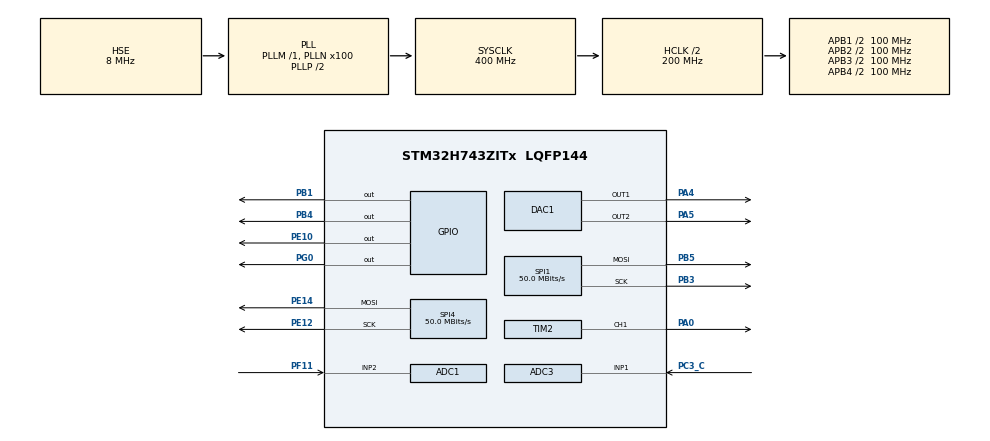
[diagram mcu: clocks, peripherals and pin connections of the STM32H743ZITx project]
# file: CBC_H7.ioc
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ADC1.BoostMode=DISABLE
ADC1.Channel-0\#ChannelRegularConversion=ADC_CHANNEL_2
ADC1.ClockPrescaler=ADC_CLOCK_ASYNC_DIV2
ADC1.ContinuousConvMode=ENABLE
ADC1.ConversionDataManagement=ADC_CONVERSIONDATA_DR
ADC1.DiscontinuousConvMode=DISABLE
ADC1.EOCSelection=ADC_EOC_SINGLE_CONV
ADC1.EnableAnalogWatchDog1=false
ADC1.EnableAnalogWatchDog2=false
ADC1.EnableAnalogWatchDog3=false
ADC1.EnableInjectedConversion=DISABLE
ADC1.EnableRegularConversion=ENABLE
ADC1.ExternalTrigConv=ADC_SOFTWARE_START
ADC1.ExternalTrigConvEdge=ADC_EXTERNALTRIGCONVEDGE_NONE
ADC1.LeftBitShift=ADC_LEFTBITSHIFT_NONE
ADC1.LowPowerAutoWait=DISABLE
ADC1.NbrOfConversion=1
ADC1.NbrOfConversionFlag=1
ADC1.OffsetNumber-0\#ChannelRegularConversion=ADC_OFFSET_NONE
ADC1.Overrun=ADC_OVR_DATA_PRESERVED
ADC1.OversamplingMode=DISABLE
ADC1.Rank-0\#ChannelRegularConversion=1
ADC1.Resolution=ADC_RESOLUTION_16B
ADC1.SamplingTime-0\#ChannelRegularConversion=ADC_SAMPLETIME_1CYCLE_5
ADC1.ScanConvMode=ADC_SCAN_DISABLE
ADC1.master=1
ADC3.Channel-3\#ChannelRegularConversion=ADC_CHANNEL_1
ADC3.NbrOfConversionFlag=1
ADC3.OffsetNumber-3\#ChannelRegularConversion=ADC_OFFSET_NONE
ADC3.Rank-3\#ChannelRegularConversion=1
ADC3.SamplingTime-3\#ChannelRegularConversion=ADC_SAMPLETIME_1CYCLE_5
CORTEX_M7.CPU_DCache=Disabled
DAC1.DAC_Channel-DAC_OUT1=DAC_CHANNEL_1
DAC1.DAC_Channel-DAC_OUT2=DAC_CHANNEL_2
DAC1.DAC_Trigger-DAC_OUT1=DAC_TRIGGER_T2_TRGO
DAC1.DAC_Trigger-DAC_OUT2=DAC_TRIGGER_T2_TRGO
Mcu.Family=STM32H7
Mcu.Name=STM32H743ZITx
Mcu.Package=LQFP144
NVIC.PriorityGroup=NVIC_PRIORITYGROUP_4
NVIC.TIM2_IRQn=true\:0\:0\:true\:false\:true\:true\:true
PA0.Signal=S_TIM2_CH1
PA13\ (JTMS/SWDIO).Mode=Serial_Wire
PA13\ (JTMS/SWDIO).Signal=DEBUG_JTMS-SWDIO
PA14\ (JTCK/SWCLK).Mode=Serial_Wire
PA14\ (JTCK/SWCLK).Signal=DEBUG_JTCK-SWCLK
PA4.Signal=COMP_DAC11_group
PA5.Signal=COMP_DAC12_group
PB1.GPIO_ModeDefaultOutputPP=GPIO_MODE_OUTPUT_PP
PB1.GPIO_PuPd=GPIO_PULLDOWN
PB1.GPIO_Speed=GPIO_SPEED_FREQ_VERY_HIGH
PB1.Signal=GPIO_Output
PB3\ (JTDO/TRACESWO).GPIO_Speed=GPIO_SPEED_FREQ_VERY_HIGH
PB3\ (JTDO/TRACESWO).Mode=TX_Only_Simplex_Unidirect_Master
PB3\ (JTDO/TRACESWO).Signal=SPI1_SCK
PB4\ (NJTRST).GPIO_Speed=GPIO_SPEED_FREQ_HIGH
PB4\ (NJTRST).PinState=GPIO_PIN_SET
PB4\ (NJTRST).Signal=GPIO_Output
PB5.GPIO_Speed=GPIO_SPEED_FREQ_VERY_HIGH
PB5.Mode=TX_Only_Simplex_Unidirect_Master
PB5.Signal=SPI1_MOSI
PC3_C.Mode=IN1-Single-Ended
PC3_C.Signal=ADC3_INP1
PE10.PinState=GPIO_PIN_SET
PE10.Signal=GPIO_Output
PE12.GPIO_Speed=GPIO_SPEED_FREQ_VERY_HIGH
PE12.Mode=TX_Only_Simplex_Unidirect_Master
PE12.Signal=SPI4_SCK
PE14.GPIO_Speed=GPIO_SPEED_FREQ_VERY_HIGH
PE14.Mode=TX_Only_Simplex_Unidirect_Master
PE14.Signal=SPI4_MOSI
PF11.Mode=IN2-Single-Ended
PF11.Signal=ADC1_INP2
PG0.Signal=GPIO_Output
PH0-OSC_IN\ (PH0).Mode=HSE-External-Oscillator
PH0-OSC_IN\ (PH0).Signal=RCC_OSC_IN
PH1-OSC_OUT\ (PH1).Mode=HSE-External-Oscillator
PH1-OSC_OUT\ (PH1).Signal=RCC_OSC_OUT
ProjectManager.HeapSize=0x3000
ProjectManager.StackSize=0x400
ProjectManager.TargetToolchain=STM32CubeIDE
RCC.ADCCLockSelection=RCC_ADCCLKSOURCE_PLL3
RCC.ADCFreq_Value=66666666.666666664
RCC.APB1Freq_Value=100000000
RCC.APB2Freq_Value=100000000
RCC.APB3Freq_Value=100000000
RCC.APB4Freq_Value=100000000
RCC.CortexFreq_Value=400000000
RCC.D1PPRE=RCC_APB3_DIV2
RCC.D2PPRE1=RCC_APB1_DIV2
RCC.D2PPRE2=RCC_APB2_DIV2
RCC.D3PPRE=RCC_APB4_DIV2
RCC.DIVM1=1
RCC.DIVM2=1
RCC.DIVM3=1
RCC.DIVN1=100
RCC.DIVN2=19
RCC.DIVN3=25
RCC.DIVP3=1
RCC.DIVR3=3
RCC.HCLKFreq_Value=200000000
RCC.HPRE=RCC_HCLK_DIV2
RCC.HSE_VALUE=8000000
RCC.PLL3FRACN=0
RCC.PLLFRACN=0
RCC.PLLSourceVirtual=RCC_PLLSOURCE_HSE
RCC.PWR_Regulator_Voltage_Scale=PWR_REGULATOR_VOLTAGE_SCALE1
RCC.RCC_TIM_PRescaler_Selection=RCC_TIMPRES_ACTIVATED
RCC.SPI123CLockSelection=RCC_SPI123CLKSOURCE_PLL3
RCC.SYSCLKFreq_VALUE=400000000
RCC.SYSCLKSource=RCC_SYSCLKSOURCE_PLLCLK
RCC.Spi45ClockSelection=RCC_SPI45CLKSOURCE_PLL3
RCC.USART234578CLockSelection=RCC_USART234578CLKSOURCE_PLL3
RCC.USBFreq_Value=400000000
SH.COMP_DAC11_group.0=DAC1_OUT1,DAC_OUT1
SH.COMP_DAC12_group.0=DAC1_OUT2,DAC_OUT2
SH.S_TIM2_CH1.0=TIM2_CH1,PWM Generation1 CH1
SPI1.BaudRatePrescaler=SPI_BAUDRATEPRESCALER_4
SPI1.CalculateBaudRate=50.0 MBits/s
SPI1.DataSize=SPI_DATASIZE_16BIT
SPI1.Direction=SPI_DIRECTION_2LINES_TXONLY
SPI1.MasterInterDataIdleness=SPI_MASTER_INTERDATA_IDLENESS_00CYCLE
SPI1.Mode=SPI_MODE_MASTER
SPI1.NSSPMode=SPI_NSS_PULSE_DISABLE
SPI1.VirtualType=VM_MASTER
SPI4.BaudRatePrescaler=SPI_BAUDRATEPRESCALER_2
SPI4.CLKPolarity=SPI_POLARITY_HIGH
SPI4.CalculateBaudRate=50.0 MBits/s
SPI4.Direction=SPI_DIRECTION_2LINES_TXONLY
SPI4.Mode=SPI_MODE_MASTER
SPI4.VirtualType=VM_MASTER
TIM2.Channel-PWM\ Generation1\ CH1=TIM_CHANNEL_1
TIM2.Pulse-PWM\ Generation1\ CH1=2
TIM2.TIM_MasterOutputTrigger=TIM_TRGO_UPDATE
VP_TIM2_VS_ClockSourceINT.Mode=Internal
board=custom

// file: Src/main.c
/* USER CODE BEGIN Header */
/**
  ******************************************************************************
  * @file           : main.c
  * @brief          : Main program body
  ******************************************************************************
  * @attention
  *
  * <h2><center>&copy; Copyright (c) 2021 STMicroelectronics.
  * All rights reserved.</center></h2>
  *
  * This software component is licensed by ST under BSD 3-Clause license,
  * the "License"; You may not use this file except in compliance with the
  * License. You may obtain a copy of the License at:
  *                        opensource.org/licenses/BSD-3-Clause
  *
  ******************************************************************************
  */
/* USER CODE END Header */
#include "main.h"
#include "adc.h"
#include "dac.h"
#include "spi.h"
#include "tim.h"
#include "gpio.h"

/* USER CODE BEGIN PV */
#define DAC_ALIGNMENT DAC_ALIGN_12B_R
#define hdac hdac1
#define TIM2PSC 0
uint32_t adc_value=0;
uint32_t dacvalue=0;
double volt_value=0;
uint32_t Tim2ARR;
uint32_t ADCBuf[2];
uint16_t  pData; //{0x7530};  //3952
uint32_t   acValBuffer;
uint16_t DACoutput1;
uint16_t DACoutput2;
uint16_t li;
double paramFreq;
uint32_t   PT_Anf=0;
uint32_t   PT_End =0;
uint32_t   ADC_Anf=0;
uint32_t   ADC_End =0;
uint32_t   DAC_Anf=0;
uint32_t   DAC_End =0;
uint32_t   PID_Anf=0;
uint32_t   PID_End =0;
uint32_t   SPI_Anf=0;
uint32_t   SPI_End =0;
double duration_sum;
double   duration =0;
double  SPI_duration = 0;
double  ADC_duration = 0;
double  PID_duration = 0;
tPID* 		 pPID1       =   &InstancePID1;
tPID* 		 pPID2       =   &InstancePID2;
uint8_t PIDInputOption = 1;
double LockInOutput = 0.0;
double yout;
uint16_t charI[16];
uint16_t hexString;
uint16_t pdata;
uint16_t li;
uint16_t spi_data = 0x0;
__IO uint16_t *ptxdr_16bits = (uint16_t*)&SPI1->TXDR; // for 16-bit-write

/* USER CODE END PV */

void SystemClock_Config(void);
void PeriphCommonClock_Config(void);
/* USER CODE BEGIN PFP */
float PIDInputSWitch(uint8_t PIDInputOption, float ADCvalue,float LockIn)
{
	 float PIDInput;
	 if (PIDInputOption == 0)
			 {
	 	 	 	 PIDInput=LockIn;
			 }
	else
			{
				PIDInput =ADCvalue;
			}
	 return(PIDInput);
}
void PID_vInit(tPID* pPID)
{                                          ///< Zeiger auf Reglerstruktur
	pPID->_Ts 				= 		1/CTRLFREQUENCY;
	pPID-> _Kp				= 		1;
	pPID-> _Ki				= 		0;
	pPID-> _Kd				= 		0.0;
	pPID-> _max				= 		3;
	pPID-> _min				= 		-3;
	pPID-> _Kaw				= 		0.0;
	pPID-> _EnKc			= 		1;
	pPID-> _fc				= 		10;
    pPID-> _PIDHold			= 		0.0;
	pPID->error             =        0;
	pPID->error_1lag        =        0;
	pPID->error_2lag        =        0;
	pPID->error_AnWi        =        0;
	pPID->preout            =        0;
	pPID->_kt               =        -1;
	pPID->En                =        1.0;
	pPID->ref               =       0.0;
	pPID->a0                =        0.0;
	pPID->a1 				= 		0.0;
	pPID->a2      			= 		0.0;
	pPID->aw				=		0.0;
	pPID->omega 			=		0;
	pPID->a0 				= 		pPID-> _Kp+pPID-> _Kd/V2MUV/pPID->_Ts+pPID->_Ki*V2MV*pPID->_Ts;
	pPID->a1 				= 		-(pPID-> _Kp+pPID-> _Kd/V2MUV/pPID->_Ts*2.0);
	pPID->a2 				=		pPID->_Kd/V2MUV/pPID->_Ts;
	pPID->aw   				=		pPID->_Kaw*pPID->_Ts;
};
void PID_Calc(tPID* pPID,uint8_t PIDInputOption, double ADCvalue,double LockIn)
{
	double 			output;
	double 			outputsat;
	double          pd;
	pd          				= 	PIDInputSWitch(PIDInputOption, ADCvalue, LockIn);
	pPID->error = (pPID->ref - pd)*pPID->_kt;
	if (pPID->En>=1)
	{
		output = (pPID->preout+pPID->a0*pPID->error + pPID->a1*pPID->error_1lag + pPID->a2*pPID->error_2lag+pPID->aw*pPID->error_AnWi)/(1+pPID->omega*pPID->_Ts);
	}
	else
	{
		output = 0;
		pPID->error             =        0;
		pPID->error_1lag        =        0;
		pPID->error_2lag        =        0;
		pPID->preout            =        0;
	}
//	if( output > pPID->_max*3)
//		{
//		   output = 3*pPID->_max;
//		}
//	if( output < pPID->_min*3 )
//			{
//			   output = 3*pPID->_min;
//			}
	pPID->preout = output;
	    // Restrict to max/min
	if( output > pPID->_max )
	{
	   outputsat = pPID->_max;
	}
	else if( output < pPID->_min )
	{
	   outputsat = pPID->_min;
	}
	else
	{
	   outputsat = output;
	}
	pPID->error_AnWi              =   outputsat-output;
	    // Save error to previous error
	pPID->error_2lag = pPID->error_1lag;
	pPID->error_1lag = pPID->error;
//   tty3 =Kd/pPID->_Ts;
	pPID->outvalue= outputsat;
}
void SPI1_start()
{
	  HAL_GPIO_WritePin(GPIOB, GPIO_PIN_4, GPIO_PIN_SET);
	  SPI1->CR1 |= SPI_CR1_SPE_Msk;    // enable SPI
	  SPI1->CR1 |= SPI_CR1_CSTART_Msk; // master transfer start

}
void SPI1_transmit(uint16_t data)
{
    GPIOB->BSRR = GPIO_PIN_4 << 16; // Reset
    *ptxdr_16bits = data;
    while( !(SPI1->SR & SPI_SR_TXC_Msk));  // check if FiFo transmission complete
    GPIOB->BSRR = GPIO_PIN_4; // Set

}
uint32_t ADC_read(ADC_HandleTypeDef *hadc)
{
    /* Enable the ADC peripheral */
	uint32_t adc_value;
/*    ADC_STATE_CLR_SET(hadc->State,
                        HAL_ADC_STATE_READY | HAL_ADC_STATE_REG_EOC | HAL_ADC_STATE_REG_OVR | HAL_ADC_STATE_REG_EOSMP,HAL_ADC_STATE_REG_BUSY);
   //__HAL_ADC_CLEAR_FLAG(hadc, (ADC_FLAG_EOC | ADC_FLAG_EOS | ADC_FLAG_OVR));
    ADC1->ISR |=ADC_ISR_EOC_Msk;
    ADC1->CR |=ADC_CR_ADSTART_Msk;*/
   // MODIFY_REG(ADC1->CR,ADC_CR_BITS_PROPERTY_RS,ADC_CR_ADSTART);
	 ADC1->ISR |=ADC_ISR_EOC_Msk;
	 ADC1->CR |=ADC_CR_ADSTART_Msk;
	 while ((ADC1->ISR  & ADC_ISR_EOC_Msk) == 0UL);
	 adc_value =ADC1->DR;
   // ADC_STATE_CLR_SET(hadc->State,HAL_ADC_STATE_REG_BUSY | HAL_ADC_STATE_INJ_BUSY,HAL_ADC_STATE_READY);
    return adc_value;
}
HAL_StatusTypeDef HAL_ADC_Stop1(ADC_HandleTypeDef *hadc)
{
  /* 1. Stop potential conversion on going, on ADC groups regular and injected */
  ADC_ConversionStop(hadc, ADC_REGULAR_INJECTED_GROUP);
  ADC_Disable(hadc);
  ADC_STATE_CLR_SET(hadc->State,HAL_ADC_STATE_REG_BUSY | HAL_ADC_STATE_INJ_BUSY,HAL_ADC_STATE_READY);
    }
HAL_StatusTypeDef HAL_ADC_PollForConversion1(ADC_HandleTypeDef *hadc, uint32_t Timeout)
{

// ADC1->ISR |=	HAL_ADC_STATE_REG_EOC;
//  SET_BIT(hadc->State, HAL_ADC_STATE_REG_EOC);
 // __HAL_ADC_CLEAR_FLAG(hadc, (ADC_FLAG_EOC));
	 while ((ADC1->ISR  & ADC_ISR_EOC_Msk) == 0UL);
}

void HAL_TIM_IRQHandler1(TIM_HandleTypeDef *htim)
{

  /* TIM Update event */
  if(__HAL_TIM_GET_FLAG(htim, TIM_FLAG_UPDATE) != RESET)
  {
    if(__HAL_TIM_GET_IT_SOURCE(htim, TIM_IT_UPDATE) !=RESET)
    {
      __HAL_TIM_CLEAR_IT(htim, TIM_IT_UPDATE);
      HAL_TIM_PeriodElapsedCallback(htim);
    }
  }
}
/* USER CODE END PFP */

/* USER CODE BEGIN 0 */
void HAL_ADC_ConvCpltCallback(ADC_HandleTypeDef* hadc)
{

/*
	  adc_value =HAL_ADC_GetValue(&hadc1);
	  volt_value=3.3f*((float)(adc_value)/65536); // single ended mode
*/

//	  DACOut=(uint32_t)(2.0/(3.3/65536));

}
void HAL_TIM_PeriodElapsedCallback(TIM_HandleTypeDef *htim)
{
		HAL_GPIO_TogglePin(GPIOG,GPIO_PIN_0);

		//HAL_GPIO_WritePin(GPIOG,GPIO_PIN_0,GPIO_PIN_SET);
		SPI_Anf =DWT->CYCCNT;
		SPI1_transmit(DACoutput1);
		PT_Anf =PT_End;
		SPI_End =DWT->CYCCNT;
		adc_value=ADC_read(&hadc1);
		ADC_End =DWT->CYCCNT;
		volt_value = DIG2WOLT*(float)(adc_value);
		PID_Calc(pPID1,PIDInputOption, volt_value,LockInOutput);
		DACoutput1 = (uint16_t)(InstancePID1.outvalue*VOLT2DIG16BIT);
		PID_End=DWT->CYCCNT;
		PID_duration =(PID_End-ADC_End)*0.0025;
		ADC_duration = (ADC_End-SPI_End)*0.0025;
		SPI_duration = (SPI_End-SPI_Anf)*0.0025;
		duration_sum =PID_duration+ADC_duration+SPI_duration;
		PT_End = DWT->CYCCNT;
		duration = (PT_End-PT_Anf)*0.0025;
		//HAL_GPIO_WritePin(GPIOG,GPIO_PIN_0,GPIO_PIN_RESET);
      //  HAL_GPIO_WritePin(GPIOB,GPIO_PIN_1, GPIO_PIN_RESET);
}
/* USER CODE END 0 */

int main(void)
{

  /* MCU Configuration--------------------------------------------------------*/

  /* Reset of all peripherals, Initializes the Flash interface and the Systick. */
  HAL_Init();

  /* Configure the system clock */
  SystemClock_Config();

/* Configure the peripherals common clocks */
  PeriphCommonClock_Config();

  /* Initialize all configured peripherals */
  MX_GPIO_Init();
  MX_DAC1_Init();
  MX_ADC1_Init();
  MX_ADC3_Init();
  MX_TIM2_Init();
  MX_SPI1_Init();
  MX_SPI4_Init();
  /* USER CODE BEGIN 2 */
  CoreDebug->DEMCR |= CoreDebug_DEMCR_TRCENA_Msk;
  DWT->CTRL |= 1;
  Tim2ARR=200e6 / CTRLFREQUENCY-1;
  __HAL_TIM_SET_PRESCALER(&htim2, TIM2PSC);
  __HAL_TIM_SET_AUTORELOAD(&htim2,  Tim2ARR);
  paramFreq = CTRLFREQUENCY;
  PID_vInit(pPID1);
  /* USER CODE BEGIN 1 */
	 // HAL_TIM_PWM_Start(&htim4, TIM_CHANNEL_1);
  //HAL_TIM_PWM_Start(&htim2, TIM_CHANNEL_1);
	      /* Start DAC */
  //HAL_ADC_Start_DMA(&hadc1,ADCBuf,2);
 // HAL_ADC_Start(&hadc1);
  ADC_Enable(&hadc1);
  SPI1_start();
  HAL_TIM_Base_Start_IT(&htim2);
  //HAL_DAC_Start(&hdac, DAC_CHANNEL_2);
  //HAL_DAC_Start(&hdac, DAC_CHANNEL_1);
  //HAL_UART_Receive_DMA(&huart3,aRxBuffer,RXBUFFERSIZE);
 // HAL_SPI_Transmit_DMA(&hspi1, pData,2);
  /* USER CODE END 2 */

  /* Infinite loop */
  while (1)
  {

  }
}

void SystemClock_Config(void)
{
  RCC_OscInitTypeDef RCC_OscInitStruct = {0};
  RCC_ClkInitTypeDef RCC_ClkInitStruct = {0};

  /** Supply configuration update enable
  */
  HAL_PWREx_ConfigSupply(PWR_LDO_SUPPLY);
  /** Configure the main internal regulator output voltage
  */
  __HAL_PWR_VOLTAGESCALING_CONFIG(PWR_REGULATOR_VOLTAGE_SCALE1);

  while(!__HAL_PWR_GET_FLAG(PWR_FLAG_VOSRDY)) {}
  /** Macro to configure the PLL clock source
  */
  __HAL_RCC_PLL_PLLSOURCE_CONFIG(RCC_PLLSOURCE_HSE);
  /** Initializes the RCC Oscillators according to the specified parameters
  * in the RCC_OscInitTypeDef structure.
  */
  RCC_OscInitStruct.OscillatorType = RCC_OSCILLATORTYPE_HSE;
  RCC_OscInitStruct.HSEState = RCC_HSE_ON;
  RCC_OscInitStruct.PLL.PLLState = RCC_PLL_ON;
  RCC_OscInitStruct.PLL.PLLSource = RCC_PLLSOURCE_HSE;
  RCC_OscInitStruct.PLL.PLLM = 1;
  RCC_OscInitStruct.PLL.PLLN = 100;
  RCC_OscInitStruct.PLL.PLLP = 2;
  RCC_OscInitStruct.PLL.PLLQ = 2;
  RCC_OscInitStruct.PLL.PLLR = 2;
  RCC_OscInitStruct.PLL.PLLRGE = RCC_PLL1VCIRANGE_3;
  RCC_OscInitStruct.PLL.PLLVCOSEL = RCC_PLL1VCOWIDE;
  RCC_OscInitStruct.PLL.PLLFRACN = 0;
  if (HAL_RCC_OscConfig(&RCC_OscInitStruct) != HAL_OK)
  {
    Error_Handler();
  }
  /** Initializes the CPU, AHB and APB buses clocks
  */
  RCC_ClkInitStruct.ClockType = RCC_CLOCKTYPE_HCLK|RCC_CLOCKTYPE_SYSCLK
                              |RCC_CLOCKTYPE_PCLK1|RCC_CLOCKTYPE_PCLK2
                              |RCC_CLOCKTYPE_D3PCLK1|RCC_CLOCKTYPE_D1PCLK1;
  RCC_ClkInitStruct.SYSCLKSource = RCC_SYSCLKSOURCE_PLLCLK;
  RCC_ClkInitStruct.SYSCLKDivider = RCC_SYSCLK_DIV1;
  RCC_ClkInitStruct.AHBCLKDivider = RCC_HCLK_DIV2;
  RCC_ClkInitStruct.APB3CLKDivider = RCC_APB3_DIV2;
  RCC_ClkInitStruct.APB1CLKDivider = RCC_APB1_DIV2;
  RCC_ClkInitStruct.APB2CLKDivider = RCC_APB2_DIV2;
  RCC_ClkInitStruct.APB4CLKDivider = RCC_APB4_DIV2;

  if (HAL_RCC_ClockConfig(&RCC_ClkInitStruct, FLASH_LATENCY_2) != HAL_OK)
  {
    Error_Handler();
  }
}

void PeriphCommonClock_Config(void)
{
  RCC_PeriphCLKInitTypeDef PeriphClkInitStruct = {0};

  /** Initializes the peripherals clock
  */
  PeriphClkInitStruct.PeriphClockSelection = RCC_PERIPHCLK_ADC|RCC_PERIPHCLK_SPI1
                              |RCC_PERIPHCLK_SPI4|RCC_PERIPHCLK_TIM;
  PeriphClkInitStruct.PLL3.PLL3M = 1;
  PeriphClkInitStruct.PLL3.PLL3N = 25;
  PeriphClkInitStruct.PLL3.PLL3P = 1;
  PeriphClkInitStruct.PLL3.PLL3Q = 2;
  PeriphClkInitStruct.PLL3.PLL3R = 3;
  PeriphClkInitStruct.PLL3.PLL3RGE = RCC_PLL3VCIRANGE_3;
  PeriphClkInitStruct.PLL3.PLL3VCOSEL = RCC_PLL3VCOWIDE;
  PeriphClkInitStruct.PLL3.PLL3FRACN = 0;
  PeriphClkInitStruct.Spi123ClockSelection = RCC_SPI123CLKSOURCE_PLL3;
  PeriphClkInitStruct.Spi45ClockSelection = RCC_SPI45CLKSOURCE_PLL3;
  PeriphClkInitStruct.AdcClockSelection = RCC_ADCCLKSOURCE_PLL3;
  PeriphClkInitStruct.TIMPresSelection = RCC_TIMPRES_ACTIVATED;

  if (HAL_RCCEx_PeriphCLKConfig(&PeriphClkInitStruct) != HAL_OK)
  {
    Error_Handler();
  }
}

void Error_Handler(void)
{
  __disable_irq();
  while (1)
  {
  }
}

/************************ (C) COPYRIGHT STMicroelectronics *****END OF FILE****/
